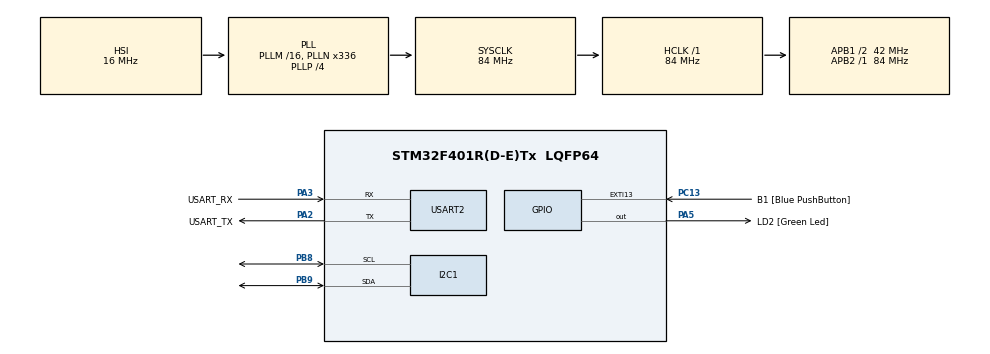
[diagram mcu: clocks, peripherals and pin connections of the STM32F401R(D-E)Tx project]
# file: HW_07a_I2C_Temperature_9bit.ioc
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Dma.Request0=USART2_TX
Dma.USART2_TX.0.Direction=DMA_MEMORY_TO_PERIPH
Dma.USART2_TX.0.FIFOMode=DMA_FIFOMODE_DISABLE
Dma.USART2_TX.0.Instance=DMA1_Stream6
Dma.USART2_TX.0.MemDataAlignment=DMA_MDATAALIGN_BYTE
Dma.USART2_TX.0.MemInc=DMA_MINC_ENABLE
Dma.USART2_TX.0.Mode=DMA_NORMAL
Dma.USART2_TX.0.PeriphDataAlignment=DMA_PDATAALIGN_BYTE
Dma.USART2_TX.0.PeriphInc=DMA_PINC_DISABLE
Dma.USART2_TX.0.Priority=DMA_PRIORITY_HIGH
Mcu.Family=STM32F4
Mcu.Name=STM32F401R(D-E)Tx
Mcu.Package=LQFP64
NVIC.DMA1_Stream6_IRQn=true\:0\:0\:false\:false\:true\:false\:true\:true
NVIC.PriorityGroup=NVIC_PRIORITYGROUP_0
NVIC.TIM2_IRQn=true\:0\:0\:false\:false\:true\:true\:true\:true
NVIC.USART2_IRQn=true\:0\:0\:false\:false\:true\:true\:true\:true
PA13.GPIO_Label=TMS
PA13.Mode=Serial_Wire
PA13.Signal=SYS_JTMS-SWDIO
PA14.GPIO_Label=TCK
PA14.Mode=Serial_Wire
PA14.Signal=SYS_JTCK-SWCLK
PA2.GPIO_Label=USART_TX
PA2.GPIO_Mode=GPIO_MODE_AF_PP
PA2.GPIO_PuPd=GPIO_NOPULL
PA2.GPIO_Speed=GPIO_SPEED_FREQ_LOW
PA2.Mode=Asynchronous
PA2.Signal=USART2_TX
PA3.GPIO_Label=USART_RX
PA3.GPIO_Mode=GPIO_MODE_AF_PP
PA3.GPIO_PuPd=GPIO_NOPULL
PA3.GPIO_Speed=GPIO_SPEED_FREQ_LOW
PA3.Mode=Asynchronous
PA3.Signal=USART2_RX
PA5.GPIO_Label=LD2 [Green Led]
PA5.GPIO_Mode=GPIO_MODE_OUTPUT_PP
PA5.GPIO_PuPd=GPIO_NOPULL
PA5.GPIO_Speed=GPIO_SPEED_FREQ_LOW
PA5.Signal=GPIO_Output
PB3.GPIO_Label=SWO
PB3.Signal=SYS_JTDO-SWO
PB8.Mode=I2C
PB8.Signal=I2C1_SCL
PB9.Mode=I2C
PB9.Signal=I2C1_SDA
PC13-ANTI_TAMP.GPIO_Label=B1 [Blue PushButton]
PC13-ANTI_TAMP.GPIO_ModeDefaultEXTI=GPIO_MODE_IT_FALLING
PC13-ANTI_TAMP.GPIO_PuPd=GPIO_NOPULL
PC13-ANTI_TAMP.Signal=GPXTI13
PC14-OSC32_IN.Mode=LSE-External-Oscillator
PC14-OSC32_IN.Signal=RCC_OSC32_IN
PC15-OSC32_OUT.Mode=LSE-External-Oscillator
PC15-OSC32_OUT.Signal=RCC_OSC32_OUT
PH0\ -\ OSC_IN.Mode=HSE-External-Clock-Source
PH0\ -\ OSC_IN.Signal=RCC_OSC_IN
PH1\ -\ OSC_OUT.Mode=HSE-External-Clock-Source
PH1\ -\ OSC_OUT.Signal=RCC_OSC_OUT
ProjectManager.HeapSize=0x200
ProjectManager.StackSize=0x400
ProjectManager.TargetToolchain=STM32CubeIDE
RCC.48MHZClocksFreq_Value=48000000
RCC.AHBFreq_Value=84000000
RCC.APB1CLKDivider=RCC_HCLK_DIV2
RCC.APB1Freq_Value=42000000
RCC.APB1TimFreq_Value=84000000
RCC.APB2Freq_Value=84000000
RCC.APB2TimFreq_Value=84000000
RCC.CortexFreq_Value=84000000
RCC.HCLKFreq_Value=84000000
RCC.HSE_VALUE=8000000
RCC.HSI_VALUE=16000000
RCC.PLLN=336
RCC.PLLP=RCC_PLLP_DIV4
RCC.PLLQ=7
RCC.SYSCLKFreq_VALUE=84000000
RCC.SYSCLKSource=RCC_SYSCLKSOURCE_PLLCLK
RCC.VCOOutputFreq_Value=336000000
TIM2.Period=10000-1
TIM2.Prescaler=8400-1
USART2.VirtualMode=VM_ASYNC
VP_TIM2_VS_ClockSourceINT.Mode=Internal
board=NUCLEO-F401RE

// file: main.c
/* USER CODE BEGIN Header */
/**
  ******************************************************************************
  * @file           : main.c
  * @brief          : Main program body
  ******************************************************************************
  * @attention
  *
  * Copyright (c) 2024 STMicroelectronics.
  * All rights reserved.
  *
  * This software is licensed under terms that can be found in the LICENSE file
  * in the root directory of this software component.
  * If no LICENSE file comes with this software, it is provided AS-IS.
  *
  ******************************************************************************
  */
/* USER CODE END Header */
#include "main.h"

/* USER CODE BEGIN Includes */
#include "string.h"
#include "stdio.h"
/* USER CODE END Includes */

I2C_HandleTypeDef hi2c1;

TIM_HandleTypeDef htim2;

UART_HandleTypeDef huart2;
DMA_HandleTypeDef hdma_usart2_tx;

/* USER CODE BEGIN PV */

uint8_t LM75_ADDRESS = 0b10010000;       //address of the LM75 (thermometer) peripheral - left shifted by 1
uint8_t LM75_TEMPERATURE_ADDRESS = 0x00; //internal address of the temperature register of the LM75

uint8_t data_in[2];      //save the 2 bytes received from the LM75 temp sensor
int16_t data_ordered;    //save both temperature bytes (MSB and LSB)
float temperature = 0;   //save converted temperature, ready to be sent
int length = 0;
char string[32];

/* USER CODE END PV */

void SystemClock_Config(void);
static void MX_GPIO_Init(void);
static void MX_DMA_Init(void);
static void MX_USART2_UART_Init(void);
static void MX_I2C1_Init(void);
static void MX_TIM2_Init(void);

/* USER CODE BEGIN 0 */

void HAL_TIM_PeriodElapsedCallback(TIM_HandleTypeDef *htim){
	if(htim == &htim2){
		//read 2 bytes of the temperature register (+1 to READ)
		if(HAL_I2C_Master_Receive(&hi2c1, LM75_ADDRESS+1, data_in, 2, 20) == HAL_OK){
			data_ordered = (data_in[0] << 8) + data_in[1];  //save MSB (shifted by 8) and LSB
			temperature = data_ordered / 256.0;             //temperature conversion: division by 2^8
			length = snprintf(string, sizeof(string), "Temperature: %.3f°C\n", temperature);
		}else{
			length = snprintf(string, sizeof(string), "Error reading from LM75\n");
		}
		HAL_UART_Transmit_DMA(&huart2, string, length);
	}
}

/* USER CODE END 0 */

int main(void)
{

  /* MCU Configuration--------------------------------------------------------*/

  /* Reset of all peripherals, Initializes the Flash interface and the Systick. */
  HAL_Init();

  /* Configure the system clock */
  SystemClock_Config();

  /* Initialize all configured peripherals */
  MX_GPIO_Init();
  MX_DMA_Init();
  MX_USART2_UART_Init();
  MX_I2C1_Init();
  MX_TIM2_Init();
  /* USER CODE BEGIN 2 */

  HAL_I2C_Master_Transmit(&hi2c1, LM75_ADDRESS, &LM75_TEMPERATURE_ADDRESS, 1, 10); //set the pointer register in order to read temp register (+0 to WRITE LM75)
  HAL_TIM_Base_Start_IT(&htim2); //start the timer

  /* USER CODE END 2 */

  /* Infinite loop */
  while (1)
  {

  }
}

void SystemClock_Config(void)
{
  RCC_OscInitTypeDef RCC_OscInitStruct = {0};
  RCC_ClkInitTypeDef RCC_ClkInitStruct = {0};

  /** Configure the main internal regulator output voltage
  */
  __HAL_RCC_PWR_CLK_ENABLE();
  __HAL_PWR_VOLTAGESCALING_CONFIG(PWR_REGULATOR_VOLTAGE_SCALE2);

  /** Initializes the RCC Oscillators according to the specified parameters
  * in the RCC_OscInitTypeDef structure.
  */
  RCC_OscInitStruct.OscillatorType = RCC_OSCILLATORTYPE_HSI;
  RCC_OscInitStruct.HSIState = RCC_HSI_ON;
  RCC_OscInitStruct.HSICalibrationValue = RCC_HSICALIBRATION_DEFAULT;
  RCC_OscInitStruct.PLL.PLLState = RCC_PLL_ON;
  RCC_OscInitStruct.PLL.PLLSource = RCC_PLLSOURCE_HSI;
  RCC_OscInitStruct.PLL.PLLM = 16;
  RCC_OscInitStruct.PLL.PLLN = 336;
  RCC_OscInitStruct.PLL.PLLP = RCC_PLLP_DIV4;
  RCC_OscInitStruct.PLL.PLLQ = 7;
  if (HAL_RCC_OscConfig(&RCC_OscInitStruct) != HAL_OK)
  {
    Error_Handler();
  }

  /** Initializes the CPU, AHB and APB buses clocks
  */
  RCC_ClkInitStruct.ClockType = RCC_CLOCKTYPE_HCLK|RCC_CLOCKTYPE_SYSCLK
                              |RCC_CLOCKTYPE_PCLK1|RCC_CLOCKTYPE_PCLK2;
  RCC_ClkInitStruct.SYSCLKSource = RCC_SYSCLKSOURCE_PLLCLK;
  RCC_ClkInitStruct.AHBCLKDivider = RCC_SYSCLK_DIV1;
  RCC_ClkInitStruct.APB1CLKDivider = RCC_HCLK_DIV2;
  RCC_ClkInitStruct.APB2CLKDivider = RCC_HCLK_DIV1;

  if (HAL_RCC_ClockConfig(&RCC_ClkInitStruct, FLASH_LATENCY_2) != HAL_OK)
  {
    Error_Handler();
  }
}

static void MX_I2C1_Init(void)
{

  hi2c1.Instance = I2C1;
  hi2c1.Init.ClockSpeed = 100000;
  hi2c1.Init.DutyCycle = I2C_DUTYCYCLE_2;
  hi2c1.Init.OwnAddress1 = 0;
  hi2c1.Init.AddressingMode = I2C_ADDRESSINGMODE_7BIT;
  hi2c1.Init.DualAddressMode = I2C_DUALADDRESS_DISABLE;
  hi2c1.Init.OwnAddress2 = 0;
  hi2c1.Init.GeneralCallMode = I2C_GENERALCALL_DISABLE;
  hi2c1.Init.NoStretchMode = I2C_NOSTRETCH_DISABLE;
  if (HAL_I2C_Init(&hi2c1) != HAL_OK)
  {
    Error_Handler();
  }

}

static void MX_TIM2_Init(void)
{

  TIM_ClockConfigTypeDef sClockSourceConfig = {0};
  TIM_MasterConfigTypeDef sMasterConfig = {0};

  htim2.Instance = TIM2;
  htim2.Init.Prescaler = 8400-1;
  htim2.Init.CounterMode = TIM_COUNTERMODE_UP;
  htim2.Init.Period = 10000-1;
  htim2.Init.ClockDivision = TIM_CLOCKDIVISION_DIV1;
  htim2.Init.AutoReloadPreload = TIM_AUTORELOAD_PRELOAD_DISABLE;
  if (HAL_TIM_Base_Init(&htim2) != HAL_OK)
  {
    Error_Handler();
  }
  sClockSourceConfig.ClockSource = TIM_CLOCKSOURCE_INTERNAL;
  if (HAL_TIM_ConfigClockSource(&htim2, &sClockSourceConfig) != HAL_OK)
  {
    Error_Handler();
  }
  sMasterConfig.MasterOutputTrigger = TIM_TRGO_RESET;
  sMasterConfig.MasterSlaveMode = TIM_MASTERSLAVEMODE_DISABLE;
  if (HAL_TIMEx_MasterConfigSynchronization(&htim2, &sMasterConfig) != HAL_OK)
  {
    Error_Handler();
  }

}

static void MX_USART2_UART_Init(void)
{

  huart2.Instance = USART2;
  huart2.Init.BaudRate = 115200;
  huart2.Init.WordLength = UART_WORDLENGTH_8B;
  huart2.Init.StopBits = UART_STOPBITS_1;
  huart2.Init.Parity = UART_PARITY_NONE;
  huart2.Init.Mode = UART_MODE_TX_RX;
  huart2.Init.HwFlowCtl = UART_HWCONTROL_NONE;
  huart2.Init.OverSampling = UART_OVERSAMPLING_16;
  if (HAL_UART_Init(&huart2) != HAL_OK)
  {
    Error_Handler();
  }

}

static void MX_DMA_Init(void)
{

  /* DMA controller clock enable */
  __HAL_RCC_DMA1_CLK_ENABLE();

  /* DMA interrupt init */
  /* DMA1_Stream6_IRQn interrupt configuration */
  HAL_NVIC_SetPriority(DMA1_Stream6_IRQn, 0, 0);
  HAL_NVIC_EnableIRQ(DMA1_Stream6_IRQn);

}

static void MX_GPIO_Init(void)
{
  GPIO_InitTypeDef GPIO_InitStruct = {0};

  /* GPIO Ports Clock Enable */
  __HAL_RCC_GPIOC_CLK_ENABLE();
  __HAL_RCC_GPIOH_CLK_ENABLE();
  __HAL_RCC_GPIOA_CLK_ENABLE();
  __HAL_RCC_GPIOB_CLK_ENABLE();

  /*Configure GPIO pin Output Level */
  HAL_GPIO_WritePin(LD2_GPIO_Port, LD2_Pin, GPIO_PIN_RESET);

  /*Configure GPIO pin : B1_Pin */
  GPIO_InitStruct.Pin = B1_Pin;
  GPIO_InitStruct.Mode = GPIO_MODE_IT_FALLING;
  GPIO_InitStruct.Pull = GPIO_NOPULL;
  HAL_GPIO_Init(B1_GPIO_Port, &GPIO_InitStruct);

  /*Configure GPIO pin : LD2_Pin */
  GPIO_InitStruct.Pin = LD2_Pin;
  GPIO_InitStruct.Mode = GPIO_MODE_OUTPUT_PP;
  GPIO_InitStruct.Pull = GPIO_NOPULL;
  GPIO_InitStruct.Speed = GPIO_SPEED_FREQ_LOW;
  HAL_GPIO_Init(LD2_GPIO_Port, &GPIO_InitStruct);

}

void Error_Handler(void)
{
  __disable_irq();
  while (1)
  {
  }
}
